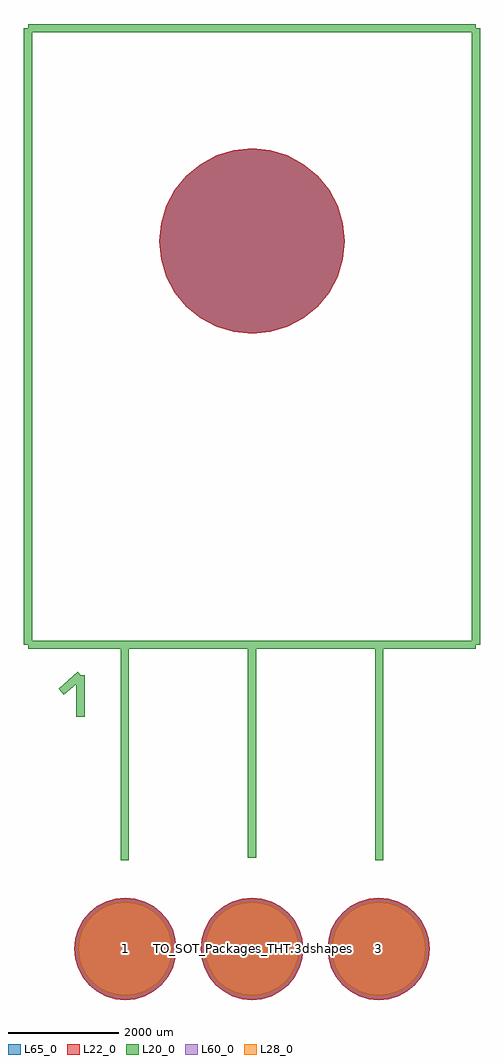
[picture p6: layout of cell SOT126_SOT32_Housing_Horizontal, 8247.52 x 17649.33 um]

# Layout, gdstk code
import gdstk
lib = gdstk.Library(unit=1e-6, precision=1e-09)
def P(c, l, *ps):  # polygons
    for p in ps: c.add(gdstk.Polygon(p, *l))
L20_0 = (20, 0)
L22_0 = (22, 0)
L28_0 = (28, 0)
L60_0 = (60, 0)
L65_0 = (65, 0)

sot126_sot32_housing_hor = lib.new_cell('SOT126_SOT32_Housing_Horizontal')
P(sot126_sot32_housing_hor, L22_0, [(1675.2,12799.06),(1643.012,13125.875),(1547.683,13440.131),(1392.878,13729.751),(1184.545,13983.605),(930.691,14191.938),(641.071,14346.743),(326.815,14442.072),(0,14474.26),(-326.815,14442.072),(-641.071,14346.743),(-930.691,14191.938),(-1184.545,13983.605),(-1392.878,13729.751),(-1547.683,13440.131),(-1643.012,13125.875),(-1675.2,12799.06),(-1643.012,12472.245),(-1547.683,12157.989),(-1392.878,11868.369),(-1184.545,11614.515),(-930.691,11406.182),(-641.071,11251.377),(-326.815,11156.048),(0,11123.86),(326.815,11156.048),(641.071,11251.377),(930.691,11406.182),(1184.545,11614.515),(1392.878,11868.369),(1547.683,12157.989),(1643.012,12472.245)],
  [(3215.71,0),(3197.943,180.386),(3145.327,353.841),(3059.882,513.697),(2944.892,653.812),(2804.777,768.802),(2644.921,854.247),(2471.466,906.863),(2291.08,924.63),(2110.694,906.863),(1937.239,854.247),(1777.383,768.802),(1637.268,653.812),(1522.278,513.697),(1436.833,353.841),(1384.217,180.386),(1366.45,0),(1384.217,-180.386),(1436.833,-353.841),(1522.278,-513.697),(1637.268,-653.812),(1777.383,-768.802),(1937.239,-854.247),(2110.694,-906.863),(2291.08,-924.63),(2471.466,-906.863),(2644.921,-854.247),(2804.777,-768.802),(2944.892,-653.812),(3059.882,-513.697),(3145.327,-353.841),(3197.943,-180.386)],
  [(-1366.45,0),(-1384.217,180.386),(-1436.833,353.841),(-1522.278,513.697),(-1637.268,653.812),(-1777.383,768.802),(-1937.239,854.247),(-2110.694,906.863),(-2291.08,924.63),(-2471.466,906.863),(-2644.921,854.247),(-2804.777,768.802),(-2944.892,653.812),(-3059.882,513.697),(-3145.327,353.841),(-3197.943,180.386),(-3215.71,0),(-3197.943,-180.386),(-3145.327,-353.841),(-3059.882,-513.697),(-2944.892,-653.812),(-2804.777,-768.802),(-2644.921,-854.247),(-2471.466,-906.863),(-2291.08,-924.63),(-2110.694,-906.863),(-1937.239,-854.247),(-1777.383,-768.802),(-1637.268,-653.812),(-1522.278,-513.697),(-1436.833,-353.841),(-1384.217,-180.386)],
  [(924.63,0),(906.863,180.386),(854.247,353.841),(768.802,513.697),(653.812,653.812),(513.697,768.802),(353.841,854.247),(180.386,906.863),(0,924.63),(-180.386,906.863),(-353.841,854.247),(-513.697,768.802),(-653.812,653.812),(-768.802,513.697),(-854.247,353.841),(-906.863,180.386),(-924.63,0),(-906.863,-180.386),(-854.247,-353.841),(-768.802,-513.697),(-653.812,-653.812),(-513.697,-768.802),(-353.841,-854.247),(-180.386,-906.863),(0,-924.63),(180.386,-906.863),(353.841,-854.247),(513.697,-768.802),(653.812,-653.812),(768.802,-513.697),(854.247,-353.841),(906.863,-180.386)])
P(sot126_sot32_housing_hor, L28_0, [(3140.71,0),(3124.385,165.755),(3076.036,325.139),(2997.522,472.029),(2891.859,600.779),(2763.109,706.442),(2616.219,784.956),(2456.835,833.305),(2291.08,849.63),(2125.325,833.305),(1965.941,784.956),(1819.051,706.442),(1690.301,600.779),(1584.638,472.029),(1506.124,325.139),(1457.775,165.755),(1441.45,0),(1457.775,-165.755),(1506.124,-325.139),(1584.638,-472.029),(1690.301,-600.779),(1819.051,-706.442),(1965.941,-784.956),(2125.325,-833.305),(2291.08,-849.63),(2456.835,-833.305),(2616.219,-784.956),(2763.109,-706.442),(2891.859,-600.779),(2997.522,-472.029),(3076.036,-325.139),(3124.385,-165.755)],
  [(-1441.45,0),(-1457.775,165.755),(-1506.124,325.139),(-1584.638,472.029),(-1690.301,600.779),(-1819.051,706.442),(-1965.941,784.956),(-2125.325,833.305),(-2291.08,849.63),(-2456.835,833.305),(-2616.219,784.956),(-2763.109,706.442),(-2891.859,600.779),(-2997.522,472.029),(-3076.036,325.139),(-3124.385,165.755),(-3140.71,0),(-3124.385,-165.755),(-3076.036,-325.139),(-2997.522,-472.029),(-2891.859,-600.779),(-2763.109,-706.442),(-2616.219,-784.956),(-2456.835,-833.305),(-2291.08,-849.63),(-2125.325,-833.305),(-1965.941,-784.956),(-1819.051,-706.442),(-1690.301,-600.779),(-1584.638,-472.029),(-1506.124,-325.139),(-1457.775,-165.755)],
  [(849.63,0),(833.305,165.755),(784.956,325.139),(706.442,472.029),(600.779,600.779),(472.029,706.442),(325.139,784.956),(165.755,833.305),(0,849.63),(-165.755,833.305),(-325.139,784.956),(-472.029,706.442),(-600.779,600.779),(-706.442,472.029),(-784.956,325.139),(-833.305,165.755),(-849.63,0),(-833.305,-165.755),(-784.956,-325.139),(-706.442,-472.029),(-600.779,-600.779),(-472.029,-706.442),(-325.139,-784.956),(-165.755,-833.305),(0,-849.63),(165.755,-833.305),(325.139,-784.956),(472.029,-706.442),(600.779,-600.779),(706.442,-472.029),(784.956,-325.139),(833.305,-165.755)])
P(sot126_sot32_housing_hor, L60_0, [(3140.71,0),(3124.385,165.755),(3076.036,325.139),(2997.522,472.029),(2891.859,600.779),(2763.109,706.442),(2616.219,784.956),(2456.835,833.305),(2291.08,849.63),(2125.325,833.305),(1965.941,784.956),(1819.051,706.442),(1690.301,600.779),(1584.638,472.029),(1506.124,325.139),(1457.775,165.755),(1441.45,0),(1457.775,-165.755),(1506.124,-325.139),(1584.638,-472.029),(1690.301,-600.779),(1819.051,-706.442),(1965.941,-784.956),(2125.325,-833.305),(2291.08,-849.63),(2456.835,-833.305),(2616.219,-784.956),(2763.109,-706.442),(2891.859,-600.779),(2997.522,-472.029),(3076.036,-325.139),(3124.385,-165.755)],
  [(-1441.45,0),(-1457.775,165.755),(-1506.124,325.139),(-1584.638,472.029),(-1690.301,600.779),(-1819.051,706.442),(-1965.941,784.956),(-2125.325,833.305),(-2291.08,849.63),(-2456.835,833.305),(-2616.219,784.956),(-2763.109,706.442),(-2891.859,600.779),(-2997.522,472.029),(-3076.036,325.139),(-3124.385,165.755),(-3140.71,0),(-3124.385,-165.755),(-3076.036,-325.139),(-2997.522,-472.029),(-2891.859,-600.779),(-2763.109,-706.442),(-2616.219,-784.956),(-2456.835,-833.305),(-2291.08,-849.63),(-2125.325,-833.305),(-1965.941,-784.956),(-1819.051,-706.442),(-1690.301,-600.779),(-1584.638,-472.029),(-1506.124,-325.139),(-1457.775,-165.755)],
  [(849.63,0),(833.305,165.755),(784.956,325.139),(706.442,472.029),(600.779,600.779),(472.029,706.442),(325.139,784.956),(165.755,833.305),(0,849.63),(-165.755,833.305),(-325.139,784.956),(-472.029,706.442),(-600.779,600.779),(-706.442,472.029),(-784.956,325.139),(-833.305,165.755),(-849.63,0),(-833.305,-165.755),(-784.956,-325.139),(-706.442,-472.029),(-600.779,-600.779),(-472.029,-706.442),(-325.139,-784.956),(-165.755,-833.305),(0,-849.63),(165.755,-833.305),(325.139,-784.956),(472.029,-706.442),(600.779,-600.779),(706.442,-472.029),(784.956,-325.139),(833.305,-165.755)])
P(sot126_sot32_housing_hor, L65_0, [(1675.2,12799.06),(1643.012,13125.875),(1547.683,13440.131),(1392.878,13729.751),(1184.545,13983.605),(930.691,14191.938),(641.071,14346.743),(326.815,14442.072),(0,14474.26),(-326.815,14442.072),(-641.071,14346.743),(-930.691,14191.938),(-1184.545,13983.605),(-1392.878,13729.751),(-1547.683,13440.131),(-1643.012,13125.875),(-1675.2,12799.06),(-1643.012,12472.245),(-1547.683,12157.989),(-1392.878,11868.369),(-1184.545,11614.515),(-930.691,11406.182),(-641.071,11251.377),(-326.815,11156.048),(0,11123.86),(326.815,11156.048),(641.071,11251.377),(930.691,11406.182),(1184.545,11614.515),(1392.878,11868.369),(1547.683,12157.989),(1643.012,12472.245)],
  [(3215.71,0),(3197.943,180.386),(3145.327,353.841),(3059.882,513.697),(2944.892,653.812),(2804.777,768.802),(2644.921,854.247),(2471.466,906.863),(2291.08,924.63),(2110.694,906.863),(1937.239,854.247),(1777.383,768.802),(1637.268,653.812),(1522.278,513.697),(1436.833,353.841),(1384.217,180.386),(1366.45,0),(1384.217,-180.386),(1436.833,-353.841),(1522.278,-513.697),(1637.268,-653.812),(1777.383,-768.802),(1937.239,-854.247),(2110.694,-906.863),(2291.08,-924.63),(2471.466,-906.863),(2644.921,-854.247),(2804.777,-768.802),(2944.892,-653.812),(3059.882,-513.697),(3145.327,-353.841),(3197.943,-180.386)],
  [(-1366.45,0),(-1384.217,180.386),(-1436.833,353.841),(-1522.278,513.697),(-1637.268,653.812),(-1777.383,768.802),(-1937.239,854.247),(-2110.694,906.863),(-2291.08,924.63),(-2471.466,906.863),(-2644.921,854.247),(-2804.777,768.802),(-2944.892,653.812),(-3059.882,513.697),(-3145.327,353.841),(-3197.943,180.386),(-3215.71,0),(-3197.943,-180.386),(-3145.327,-353.841),(-3059.882,-513.697),(-2944.892,-653.812),(-2804.777,-768.802),(-2644.921,-854.247),(-2471.466,-906.863),(-2291.08,-924.63),(-2110.694,-906.863),(-1937.239,-854.247),(-1777.383,-768.802),(-1637.268,-653.812),(-1522.278,-513.697),(-1436.833,-353.841),(-1384.217,-180.386)],
  [(924.63,0),(906.863,180.386),(854.247,353.841),(768.802,513.697),(653.812,653.812),(513.697,768.802),(353.841,854.247),(180.386,906.863),(0,924.63),(-180.386,906.863),(-353.841,854.247),(-513.697,768.802),(-653.812,653.812),(-768.802,513.697),(-854.247,353.841),(-906.863,180.386),(-924.63,0),(-906.863,-180.386),(-854.247,-353.841),(-768.802,-513.697),(-653.812,-653.812),(-513.697,-768.802),(-353.841,-854.247),(-180.386,-906.863),(0,-924.63),(180.386,-906.863),(353.841,-854.247),(513.697,-768.802),(653.812,-653.812),(768.802,-513.697),(854.247,-353.841),(906.863,-180.386)])
sot126_sot32_housing_hor.add(gdstk.FlexPath([(4048.76,5499.1),(-4048.76,5499.1)], 149.998, ends="flush", simple_path=True, layer=20, datatype=0))  # L20_0
sot126_sot32_housing_hor.add(gdstk.FlexPath([(-4048.76,16649.7),(-4048.76,5499.1)], 149.998, ends="flush", simple_path=True, layer=20, datatype=0))  # L20_0
sot126_sot32_housing_hor.add(gdstk.FlexPath([(4048.76,16649.7),(-4048.76,16649.7)], 149.998, ends="flush", simple_path=True, layer=20, datatype=0))  # L20_0
sot126_sot32_housing_hor.add(gdstk.FlexPath([(4048.76,5499.1),(4048.76,16649.7)], 149.998, ends="flush", simple_path=True, layer=20, datatype=0))  # L20_0
sot126_sot32_housing_hor.add(gdstk.FlexPath([(0,5499.1),(0,1651)], 149.998, ends="flush", simple_path=True, layer=20, datatype=0))  # L20_0
sot126_sot32_housing_hor.add(gdstk.FlexPath([(2301.24,5499.1),(2301.24,1600.2)], 149.998, ends="flush", simple_path=True, layer=20, datatype=0))  # L20_0
sot126_sot32_housing_hor.add(gdstk.FlexPath([(-2301.24,5499.1),(-2301.24,1600.2)], 149.998, ends="flush", simple_path=True, layer=20, datatype=0))  # L20_0
sot126_sot32_housing_hor.add(gdstk.FlexPath([(-3098.8,4950.46),(-3098.8,4201.16)], 149.998, ends="flush", simple_path=True, layer=20, datatype=0))  # L20_0
sot126_sot32_housing_hor.add(gdstk.FlexPath([(-3449.32,4650.74),(-3098.8,4950.46)], 149.998, ends="flush", simple_path=True, layer=20, datatype=0))  # L20_0
sot126_sot32_housing_hor.add(gdstk.Label('TO_SOT_Packages_THT.3dshapes/SOT126_SOT32_Housing_Horizontal.wrl', (0,0), layer=12, texttype=0))
sot126_sot32_housing_hor.add(gdstk.Label('3', (2291.08,0), layer=28, texttype=0))
sot126_sot32_housing_hor.add(gdstk.Label('1', (-2291.08,0), layer=28, texttype=0))
sot126_sot32_housing_hor.add(gdstk.Label('2', (0,0), layer=28, texttype=0))
sot126_sot32_housing_hor.add(gdstk.Label('type', (701.04,-4300.22), layer=9, texttype=0))
sot126_sot32_housing_hor.add(gdstk.Label('devicename', (149.86,17899.38), layer=9, texttype=0))

lib.write_gds('SOT126_SOT32_Housing_Horizontal.gds')
